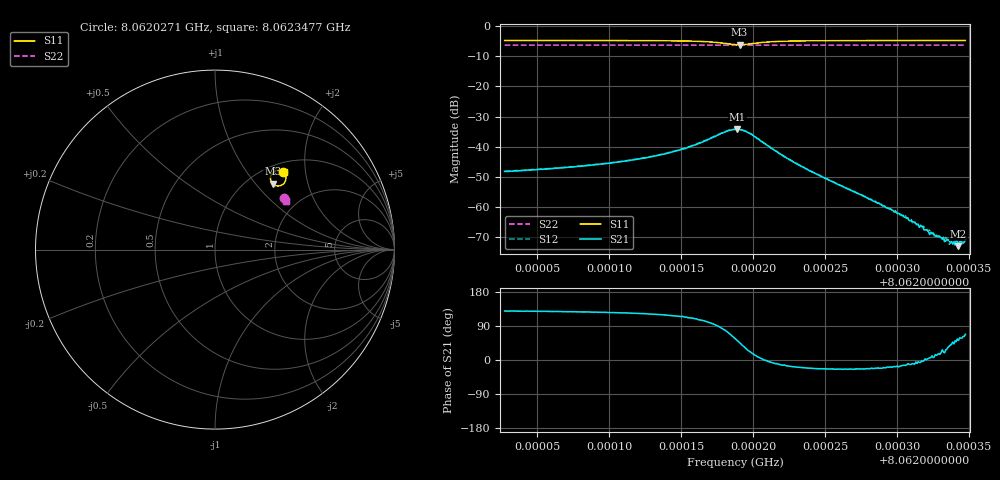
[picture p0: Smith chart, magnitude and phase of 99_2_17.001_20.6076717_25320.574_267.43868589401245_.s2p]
#  HZ  S  RI  R  50.00
! Rohde & Schwarz Vector Network Analyzer
! Rohde-Schwarz,ZNB20-2Port,1311601062101988,3.16
! Created: UTC 3/20/2024, 10:56:27 PM
! freq[Hz]  re:S11  im:S11  re:S21  im:S21  re:S12  im:S12  re:S22  im:S22
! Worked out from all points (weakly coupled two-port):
!   401 points, 8.0620271 GHz to 8.0623477 GHz, reference 50 ohm
!   highest |S21| = -34.18 dB at 8.062189 GHz (marker M1); lowest = -72.9 dB at 8.0623429 GHz (marker M2)
!   lowest |S11| = -6.2 dB at 8.0621906 GHz (marker M3), VSWR 2.91, Z = 64.1 + j61.7 ohm
!   |S11| at or under -10 dB: nowhere
!   |S22| runs from -6.4 to -6.3 dB; largest |S21 - S12| = 0.0014
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8.06202713e9  0.3785 0.4337  -0.00248 0.00303  -0.0023 0.00318  0.3871 0.2882
8.06208082e9  0.384 0.4277  -0.00288 0.00384  -0.00267 0.00403  0.3889 0.2855
8.06210806e9  0.3877 0.4228  -0.00323 0.00471  -0.00295 0.00489  0.39 0.284
8.06213451e9  0.3921 0.4144  -0.00363 0.0063  -0.00327 0.00658  0.3908 0.2823
8.06215294e9  0.395 0.4026  -0.00364 0.00866  -0.0032 0.00903  0.3914 0.2809
8.06217057e9  0.3907 0.378  -0.00181 0.0138  -0.000919 0.014  0.3914 0.2792
8.06218178e9  0.3636 0.3561  0.00463 0.0175  0.00601 0.0173  0.3903 0.278
8.06218739e9  0.3365 0.3572  0.0106 0.0163  0.0118 0.0157  0.3892 0.2784
8.062189e9  0.3289 0.3612  0.0122 0.0153  0.0133 0.0145  0.389 0.2785
8.0621906e9  0.3221 0.3667  0.0135 0.0139  0.0146 0.013  0.3889 0.2788
8.06219861e9  0.3093 0.4035  0.0153 0.00544  0.0157 0.00451  0.3892 0.2802
8.06220823e9  0.3242 0.4305  0.0113 -6.77e-05  0.0112 -0.000774  0.3905 0.2808
8.06222185e9  0.3448 0.4402  0.00668 -0.00154  0.00658 -0.00213  0.392 0.2801
8.06224108e9  0.36 0.4401  0.00352 -0.00143  0.00348 -0.00167  0.3931 0.2789
8.06229477e9  0.3758 0.4342  0.000885 -0.000306  0.000876 -0.000365  0.3954 0.2761
8.06232522e9  0.3803 0.4315  0.000363 4.15e-05  0.00038 3.87e-05  0.3966 0.2744
8.06233243e9  0.381 0.4309  0.000297 0.000111  0.000301 0.000101  0.3967 0.2741
8.06233644e9  0.3815 0.4306  0.000224 0.000166  0.000204 0.000133  0.397 0.2737
8.06233884e9  0.3818 0.4304  0.000167 0.00018  0.000216 0.000197  0.3969 0.2738
8.06234285e9  0.3821 0.4301  0.000141 0.000178  0.000165 0.000187  0.3972 0.2735
8.06234445e9  0.3824 0.4299  0.000145 0.00023  0.000156 0.000228  0.3973 0.2735
8.06234766e9  0.3827 0.4298  0.00011 0.00027  0.00013 0.000225  0.3973 0.2732
